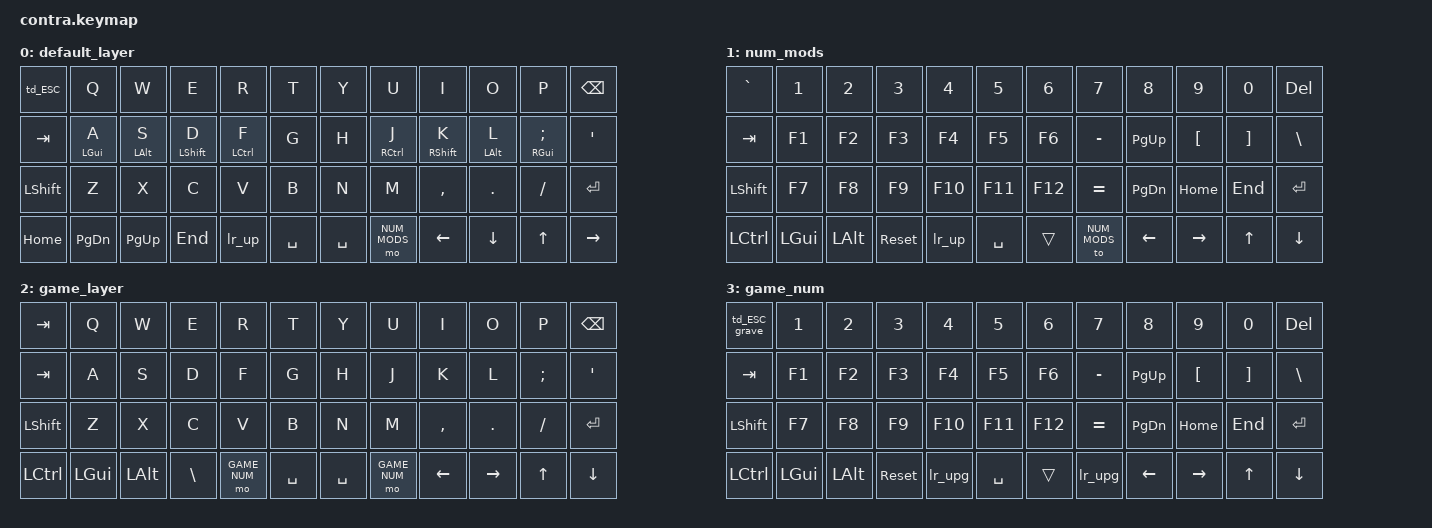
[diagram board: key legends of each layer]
/*
 * Copyright (c) 2021 The ZMK Contributors
 *
 * SPDX-License-Identifier: MIT
 */

#include <behaviors.dtsi>
#include <dt-bindings/zmk/keys.h>
#include <dt-bindings/zmk/ext_power.h>
#include <dt-bindings/zmk/rgb.h>
#include <dt-bindings/led/led.h>

#define DEFAULT     0
#define NUM_MODS    1
#define GAME_LAYER  2
#define GAME_NUM    3

// rgb,SPI
&pinctrl {
    spi3_default: spi3_default {
        group1 {
            psels = <NRF_PSEL(SPIM_MOSI, 1, 15)>;
        };
    };

    spi3_sleep: spi3_sleep {
        group1 {
            psels = <NRF_PSEL(SPIM_MOSI, 1, 15)>;
            low-power-enable;
		};
	};
};

&spi3 {
	compatible = "nordic,nrf-spim";
	status = "okay";

	pinctrl-0 = <&spi3_default>;
	pinctrl-1 = <&spi3_sleep>;
	pinctrl-names = "default", "sleep";


	led_strip: ws2812@0 {
		compatible = "worldsemi,ws2812-spi";
		label = "WS2812";

		/* SPI */
		reg = <0>; /* ignored, but necessary for SPI bindings */
		spi-max-frequency = <4000000>;

		/* WS2812 */
		chain-length = <10>;
		spi-one-frame = <0x70>;
		spi-zero-frame = <0x40>;
		color-mapping = <LED_COLOR_ID_GREEN LED_COLOR_ID_RED LED_COLOR_ID_BLUE>;
	};
};

/ {
	chosen {
		zmk,underglow = &led_strip;
	};
};

/ {
    behaviors {
        td_ESC: tap_dance_0 {
            compatible = "zmk,behavior-tap-dance";
            #binding-cells = <0>;
            tapping-term-ms = <200>;
            bindings = <&kp ESC>, <&kp CAPS>;
        };

        td_ESC_grave: tap_dance_1 {
            compatible = "zmk,behavior-tap-dance";
            #binding-cells = <0>;
            tapping-term-ms = <200>;
            bindings = <&kp ESC>, <&kp GRAVE>;
        };

        lr_up: layer_up {
            compatible = "zmk,behavior-mod-morph";
            #binding-cells = <0>;
            bindings = <&to DEFAULT>, <&to GAME_LAYER>;

            mods = <(MOD_LSFT)>;
        };

        lr_upg: layer_up_game_mode {
            compatible = "zmk,behavior-mod-morph";
            #binding-cells = <0>;
            bindings = <&mo GAME_NUM>, <&to DEFAULT>;

            mods = <(MOD_LSFT)>;
        };
    };

    keymap {
        compatible = "zmk,keymap";

        default_layer {
            bindings = <
&td_ESC    &kp Q       &kp W       &kp E         &kp R        &kp T      &kp Y      &kp U         &kp I         &kp O       &kp P          &kp BSPC
&kp TAB    &mt LGUI A  &mt LALT S  &mt LSHIFT D  &mt LCTRL F  &kp G      &kp H      &mt RCTRL J   &mt RSHIFT K  &mt LALT L  &mt RGUI SEMI  &kp SQT
&kp LSHFT  &kp Z       &kp X       &kp C         &kp V        &kp B      &kp N      &kp M         &kp COMMA     &kp DOT     &kp FSLH       &kp ENTER
&kp HOME   &kp PG_DN   &kp PG_UP   &kp END       &lr_up       &kp SPACE  &kp SPACE  &mo NUM_MODS  &kp LEFT      &kp DOWN    &kp UP         &kp RIGHT
            >;
        };

        num_mods {
            bindings = <
&kp GRAVE  &kp N1    &kp N2    &kp N3      &kp N4   &kp N5     &kp N6   &kp N7        &kp N8     &kp N9     &kp N0    &kp DEL
&kp TAB    &kp F1    &kp F2    &kp F3      &kp F4   &kp F5     &kp F6   &kp MINUS     &kp PG_UP  &kp LBKT   &kp RBKT  &kp BSLH
&kp LSHFT  &kp F7    &kp F8    &kp F9      &kp F10  &kp F11    &kp F12  &kp EQUAL     &kp PG_DN  &kp HOME   &kp END   &kp ENTER
&kp LCTRL  &kp LGUI  &kp LALT  &sys_reset  &lr_up   &kp SPACE  &trans   &to NUM_MODS  &kp LEFT   &kp RIGHT  &kp UP    &kp DOWN
            >;
        };

        game_layer {
            bindings = <
&kp TAB    &kp Q     &kp W     &kp E     &kp R    &kp T      &kp Y      &kp U         &kp I      &kp O      &kp P     &kp BSPC
&kp TAB    &kp A     &kp S     &kp D     &kp F    &kp G      &kp H      &kp J         &kp K      &kp L      &kp SEMI  &kp SQT
&kp LSHFT  &kp Z     &kp X     &kp C     &kp V    &kp B      &kp N      &kp M         &kp COMMA  &kp DOT    &kp FSLH  &kp ENTER
&kp LCTRL  &kp LGUI  &kp LALT  &kp BSLH  &mo GAME_NUM  &kp SPACE  &kp SPACE  &mo GAME_NUM  &kp LEFT   &kp RIGHT  &kp UP    &kp DOWN
            >;
        };

        game_num {
            bindings = <
&td_ESC_grave  &kp N1    &kp N2    &kp N3      &kp N4   &kp N5     &kp N6   &kp N7        &kp N8     &kp N9     &kp N0    &kp DEL
&kp TAB        &kp F1    &kp F2    &kp F3      &kp F4   &kp F5     &kp F6   &kp MINUS     &kp PG_UP  &kp LBKT   &kp RBKT  &kp BSLH
&kp LSHFT      &kp F7    &kp F8    &kp F9      &kp F10  &kp F11    &kp F12  &kp EQUAL     &kp PG_DN  &kp HOME   &kp END   &kp ENTER
&kp LCTRL      &kp LGUI  &kp LALT  &sys_reset  &lr_upg  &kp SPACE  &trans   &lr_upg    &kp LEFT   &kp RIGHT  &kp UP    &kp DOWN
            >;
        };
    };
};
